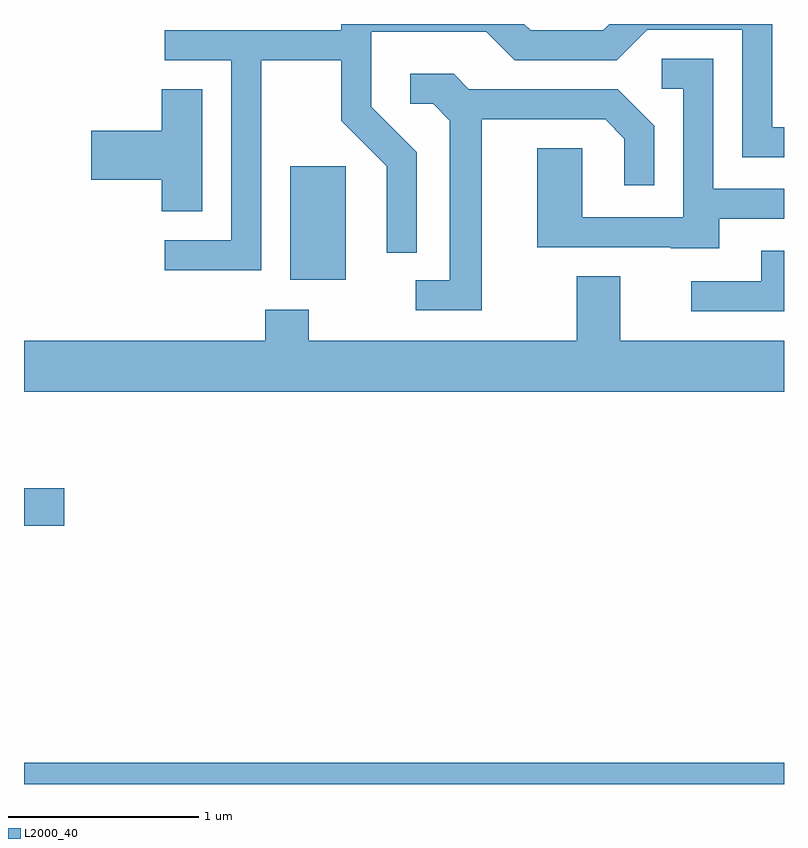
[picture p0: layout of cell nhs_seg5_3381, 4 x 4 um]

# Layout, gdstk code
import gdstk
lib = gdstk.Library(unit=1e-6, precision=1e-09)
def R(c, l, rs):  # rectangles x0, y0, x1, y1
    for r in rs: c.add(gdstk.rectangle(r[:2], r[2:], *l))
def P(c, l, *ps):  # polygons
    for p in ps: c.add(gdstk.Polygon(p, *l))
L2000_40 = (2000, 40)

nhs_seg5_3381 = lib.new_cell('nhs_seg5_3381')
R(nhs_seg5_3381, L2000_40, [(285.611,1448.072,289.611,1448.184), (285.611,1449.431,285.824,1449.629), (287.011,1450.726,287.304,1451.324)])
P(nhs_seg5_3381, L2000_40, [(286.859,1451.881),(287.281,1451.881),(287.281,1451.564),(287.521,1451.324),(287.521,1450.868),(287.679,1450.868),(287.679,1451.397),(287.439,1451.637),(287.439,1452.031),(288.044,1452.031),(288.194,1451.881),(288.732,1451.881),(288.892,1452.041),(289.391,1452.041),(289.391,1451.371),(289.611,1451.371),(289.611,1451.529),(289.549,1451.529),(289.549,1452.072),(288.692,1452.072),(288.659,1452.039),(288.277,1452.039),(288.244,1452.072),(287.281,1452.072),(287.281,1452.039),(286.353,1452.039),(286.353,1451.881),(286.701,1451.881),(286.701,1450.934),(286.353,1450.934),(286.353,1450.776),(286.859,1450.776)],
  [(289.269,1451.046),(289.611,1451.046),(289.611,1451.204),(289.239,1451.204),(289.239,1451.889),(288.968,1451.889),(288.968,1451.731),(289.081,1451.731),(289.081,1451.054),(288.549,1451.054),(288.549,1451.419),(288.311,1451.419),(288.311,1450.896),(289.015,1450.896),(289.015,1450.891),(289.269,1450.891)],
  [(288.019,1451.571),(288.669,1451.571),(288.771,1451.469),(288.771,1451.223),(288.929,1451.223),(288.929,1451.537),(288.737,1451.729),(287.952,1451.729),(287.872,1451.809),(287.643,1451.809),(287.643,1451.651),(287.764,1451.651),(287.851,1451.564),(287.851,1450.724),(287.673,1450.724),(287.673,1450.566),(288.019,1450.566)],
  [(286.549,1451.729),(286.336,1451.729),(286.336,1451.509),(285.966,1451.509),(285.966,1451.251),(286.336,1451.251),(286.336,1451.086),(286.549,1451.086)],
  [(289.611,1450.879),(289.491,1450.879),(289.491,1450.719),(289.123,1450.719),(289.123,1450.561),(289.611,1450.561)],
  [(289.611,1450.404),(288.749,1450.404),(288.749,1450.744),(288.521,1450.744),(288.521,1450.404),(287.109,1450.404),(287.109,1450.569),(286.881,1450.569),(286.881,1450.404),(285.611,1450.404),(285.611,1450.136),(289.611,1450.136)])

lib.write_gds('nhs_seg5_3381.gds')
